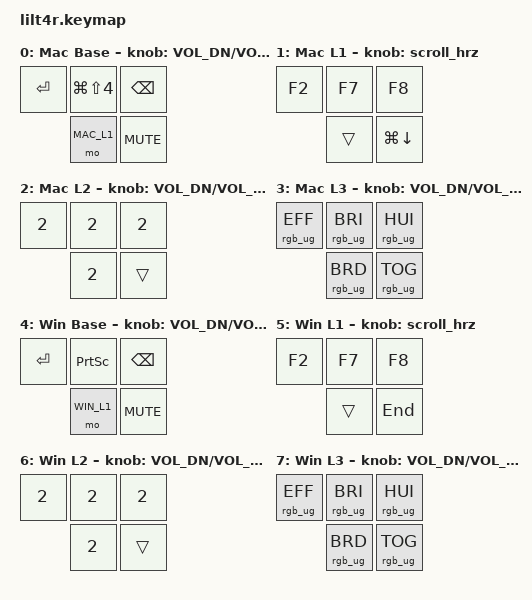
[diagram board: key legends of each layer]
#include <behaviors.dtsi>
#include <dt-bindings/zmk/keys.h>
#include <dt-bindings/zmk/pointing.h>   // 左右スクロール用
#include <dt-bindings/zmk/rgb.h>        // RGBコントロール用

// レイヤー番号の定義（ZMK Studioや今後のコード編集で見やすくするため）
#define MAC_BASE 0
#define MAC_L1   1
#define MAC_L2   2
#define MAC_L3   3
#define WIN_BASE 4
#define WIN_L1   5
#define WIN_L2   6
#define WIN_L3   7

/ {
    behaviors {
        scroll_hrz: scroll_hrz {
            compatible = "zmk,behavior-sensor-rotate";
            #sensor-binding-cells = <0>;
            bindings = <&msc SCRL_LEFT>, <&msc SCRL_RIGHT>;
        };
    };


    combos {
        compatible = "zmk,combos";

        // SW1 (0) + SW4 (3) の同時押しで Mac Base へ
        combo_to_mac {
            timeout-ms = <50>;
            key-positions = <0 4>;      // SW1 + RE
            bindings = <&to MAC_BASE>;
        };

        combo_to_mac_base {
            timeout-ms = <50>;
            key-positions = <0 3>;      // SW1 + SW4
            layers = <MAC_BASE MAC_L2 MAC_L3>;
            bindings = <&to MAC_BASE>;
        };

        combo_to_mac_l2 {
            timeout-ms = <50>;
            key-positions = <1 3>;      // SW2 + SW4
            layers = <MAC_BASE MAC_L2 MAC_L3>;
            bindings = <&to MAC_L2>;
        };

        combo_to_mac_l3 {
            timeout-ms = <50>;
            key-positions = <2 3>;      // SW3 + SW4
            layers = <MAC_BASE MAC_L2 MAC_L3>;
            bindings = <&to MAC_L3>;
        };

        // SW2 (1) + SW4 (3) の同時押しで Win Base へ
        combo_to_win {
            timeout-ms = <50>;
            key-positions = <1 4>;   // SW2 と RE
            bindings = <&to WIN_BASE>;
        };

        combo_to_win_base {
            timeout-ms = <50>;
            key-positions = <0 3>;      // SW1 + SW4
            layers = <WIN_BASE WIN_L2 WIN_L3>;
            bindings = <&to WIN_BASE>;
        };

        combo_to_win_l2 {
            timeout-ms = <50>;
            key-positions = <1 3>;      // SW2 + SW4
            layers = <WIN_BASE WIN_L2 WIN_L3>;
            bindings = <&to WIN_L2>;
        };

        combo_to_win_l3 {
            timeout-ms = <50>;
            key-positions = <2 3>;      // SW3 + SW4
            layers = <WIN_BASE WIN_L2 WIN_L3>;
            bindings = <&to WIN_L3>;
        };
    };


    keymap {
        compatible = "zmk,keymap";

        // ==========================================
        // Mac用レイヤー (0 〜 3)
        // ==========================================
        mac_base_layer {
            display-name = "Mac Base";
            sensor-bindings = <&inc_dec_kp C_VOL_DN C_VOL_UP>;
            bindings = <
                &kp RET &kp LG(LS(N4)) &kp BSPC
                        &mo MAC_L1     &kp C_MUTE
            >;
        };

        mac_layer_1 {
            display-name = "Mac L1";
            sensor-bindings = <&scroll_hrz>;
            bindings = <
                &kp F2 &kp F7 &kp F8
                       &trans &kp LG(DOWN)
            >;
        };

        mac_layer_2 {
            display-name = "Mac L2";
            sensor-bindings = <&inc_dec_kp C_VOL_DN C_VOL_UP>;
            bindings = <
                &kp N2 &kp N2 &kp N2
                       &kp N2 &trans
            >;
        };

        mac_layer_3 {
            display-name = "Mac L3";
            sensor-bindings = <&inc_dec_kp C_VOL_DN C_VOL_UP>;
            bindings = <
                &rgb_ug RGB_EFF &rgb_ug RGB_BRI &rgb_ug RGB_HUI
                                &rgb_ug RGB_BRD &rgb_ug RGB_TOG
            >;
        };

        // ==========================================
        // Windows用レイヤー (4 〜 7)
        // ==========================================
        win_base_layer {
            display-name = "Win Base";
            sensor-bindings = <&inc_dec_kp C_VOL_DN C_VOL_UP>;
            bindings = <
                &kp RET &kp PSCRN  &kp BSPC
                        &mo WIN_L1 &kp C_MUTE
            >;
        };

        win_layer_1 {
            display-name = "Win L1";
            sensor-bindings = <&scroll_hrz>;
            bindings = <
                &kp F2 &kp F7 &kp F8
                       &trans &kp END
            >;
        };

        win_layer_2 {
            display-name = "Win L2";
            sensor-bindings = <&inc_dec_kp C_VOL_DN C_VOL_UP>;
            bindings = <
                &kp N2 &kp N2 &kp N2
                       &kp N2 &trans
            >;
        };

        win_layer_3 {
            display-name = "Win L3";
            sensor-bindings = <&inc_dec_kp C_VOL_DN C_VOL_UP>;
            bindings = <
                &rgb_ug RGB_EFF &rgb_ug RGB_BRI &rgb_ug RGB_HUI
                                &rgb_ug RGB_BRD &rgb_ug RGB_TOG
            >;
        };
    };
};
